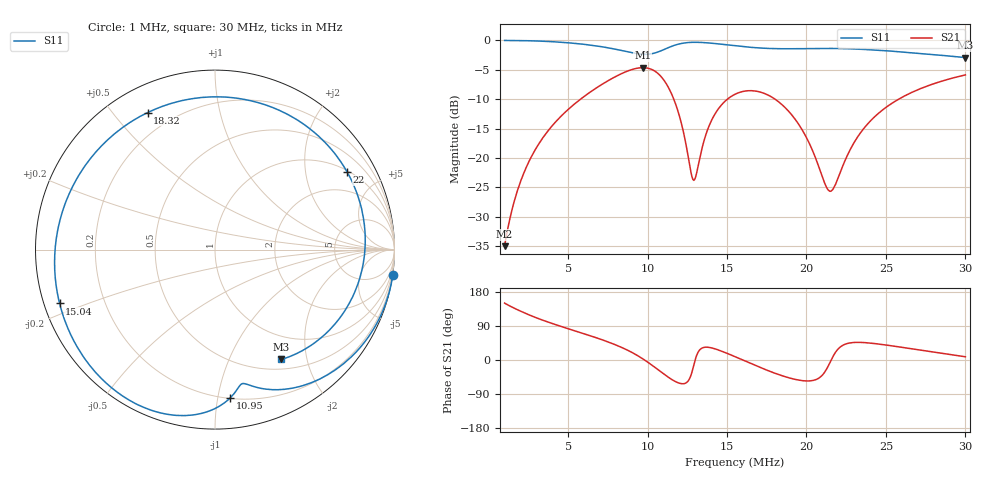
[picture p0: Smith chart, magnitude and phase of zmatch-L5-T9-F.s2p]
# HZ S RI R 50
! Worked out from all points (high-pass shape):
!   505 points, 1 MHz to 30 MHz, reference 50 ohm
!   highest |S21| = -4.63 dB at 9.689 MHz (marker M1); lowest = -35.0 dB at 1 MHz (marker M2)
!   |S21| within 3 dB of the highest: 7.035 MHz to 11.23 MHz (4.198 MHz wide, 46 % of centre); 27.73 MHz to end of sweep
!   lowest |S11| = -2.9 dB at 30 MHz (marker M3), VSWR 6.02, Z = 31.6 - j79.3 ohm
!   |S11| at or under -10 dB: nowhere
!   S12 and S22 are empty: the file has one direction only
!   S11 on the Smith chart (normalised r, x): 1 MHz: -0, -14; 10.95 MHz: 0.21, -1.09; 15.04 MHz: 0.04, -0.17; 18.32 MHz: 0.11, +0.62; 22 MHz: 1.05, +3.36; 30 MHz: 0.63, -1.59
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1000000  0.9906 -0.1412  -0.0154 0.00877  0 0  0 0
1805560  0.966 -0.2537  -0.0356 0.0386  0 0  0 0
2726200  0.9181 -0.379  -0.0457 0.0943  0 0  0 0
5833360  0.6055 -0.7096  0.1017 0.3038  0 0  0 0
8077420  0.3052 -0.7797  0.3922 0.3104  0 0  0 0
9688540  0.1606 -0.7463  0.5857 0.0333  0 0  0 0
1.066672e7  0.1146 -0.7912  0.469 -0.2278  0 0  0 0
1.095442e7  0.0861 -0.8247  0.3877 -0.271  0 0  0 0
1.187506e7  -0.1097 -0.9194  0.132 -0.2225  0 0  0 0
1.291078e7  -0.4292 -0.8648  0.0627 -0.0143  0 0  0 0
1.388896e7  -0.6862 -0.6594  0.1592 0.1039  0 0  0 0
1.503976e7  -0.8658 -0.2998  0.3039 0.0925  0 0  0 0
1.550008e7  -0.8916 -0.1341  0.3441 0.0533  0 0  0 0
1.688104e7  -0.7812 0.3744  0.3547 -0.1022  0 0  0 0
1.831954e7  -0.3755 0.7634  0.2274 -0.1873  0 0  0 0
1.929772e7  -0.00818 0.8511  0.1328 -0.1654  0 0  0 0
2.033344e7  0.3573 0.7764  0.0693 -0.0973  0 0  0 0
2.136916e7  0.6278 0.5817  0.0512 -0.0144  0 0  0 0
2.20021e7  0.7354 0.4339  0.0593 0.0336  0 0  0 0
2.332552e7  0.8339 0.1218  0.1091 0.1149  0 0  0 0
2.51668e7  0.7822 -0.2282  0.2183 0.174  0 0  0 0
3.000016e7  0.3699 -0.6122  0.5035 0.0751  0 0  0 0
